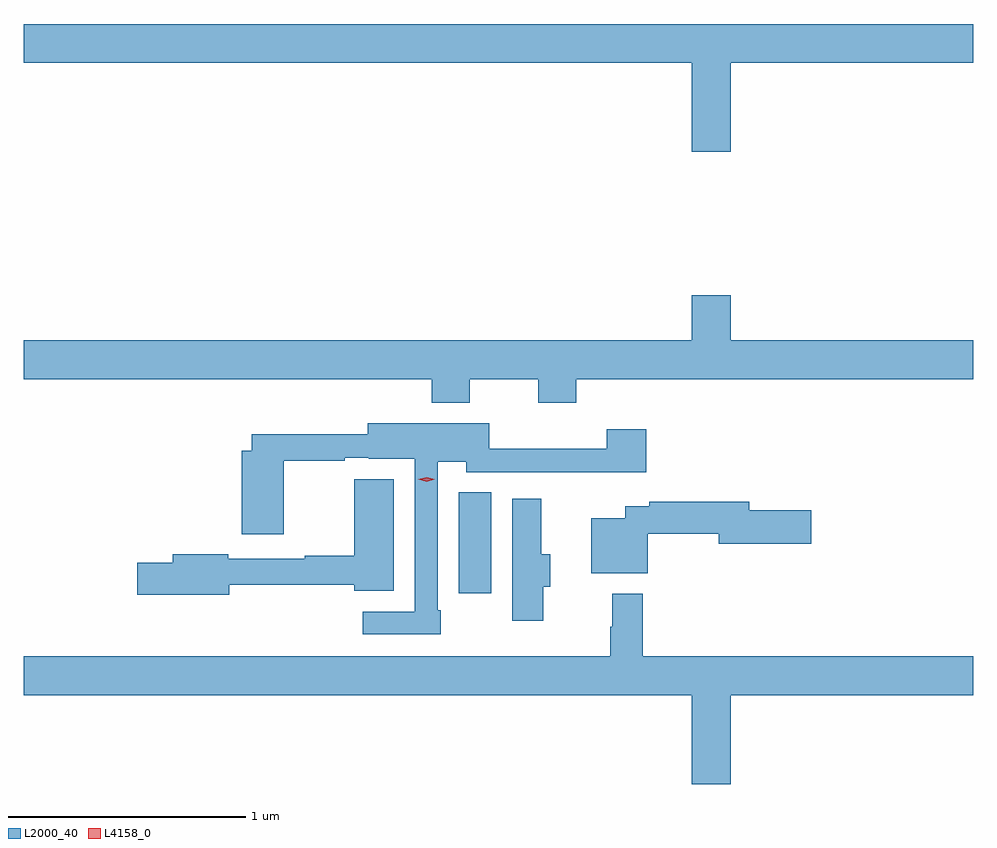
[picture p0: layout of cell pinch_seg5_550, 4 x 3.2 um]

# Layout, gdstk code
import gdstk
lib = gdstk.Library(unit=1e-6, precision=1e-09)
def R(c, l, rs):  # rectangles x0, y0, x1, y1
    for r in rs: c.add(gdstk.rectangle(r[:2], r[2:], *l))
def P(c, l, *ps):  # polygons
    for p in ps: c.add(gdstk.Polygon(p, *l))
L2000_40 = (2000, 40)
L4158_0 = (4158, 0)

pinch_seg5_550 = lib.new_cell('pinch_seg5_550')
R(pinch_seg5_550, L2000_40, [(991.199,834.546,991.336,834.971)])
P(pinch_seg5_550, L2000_40, [(992.344,836.78),(993.366,836.78),(993.366,836.944),(989.366,836.944),(989.366,836.78),(992.18,836.78),(992.18,836.406),(992.344,836.406)],
  [(991.245,835.448),(991.534,835.448),(991.534,835.349),(991.694,835.349),(991.694,835.448),(993.366,835.448),(993.366,835.612),(992.344,835.612),(992.344,835.801),(992.18,835.801),(992.18,835.612),(989.366,835.612),(989.366,835.448),(991.085,835.448),(991.085,835.349),(991.245,835.349)],
  [(991.123,834.475),(991.11,834.475),(991.11,835.1),(991.23,835.1),(991.23,835.056),(991.739,835.056),(991.739,835.055),(991.988,835.055),(991.988,835.237),(991.823,835.237),(991.823,835.154),(991.326,835.154),(991.326,835.261),(990.815,835.261),(990.815,835.215),(990.326,835.215),(990.326,835.147),(990.284,835.147),(990.284,834.795),(990.462,834.795),(990.462,835.104),(990.719,835.104),(990.719,835.116),(990.819,835.116),(990.819,835.112),(991.014,835.112),(991.014,834.468),(990.795,834.468),(990.795,834.372),(991.123,834.372)],
  [(990.232,834.582),(990.758,834.582),(990.758,834.557),(990.925,834.557),(990.925,835.027),(990.758,835.027),(990.758,834.703),(990.55,834.703),(990.55,834.69),(990.228,834.69),(990.228,834.71),(989.993,834.71),(989.993,834.674),(989.844,834.674),(989.844,834.539),(990.232,834.539)],
  [(991.554,834.574),(991.585,834.574),(991.585,834.711),(991.546,834.711),(991.546,834.943),(991.424,834.943),(991.424,834.429),(991.554,834.429)],
  [(991.995,834.796),(992.294,834.796),(992.294,834.754),(992.683,834.754),(992.683,834.896),(992.422,834.896),(992.422,834.932),(992.002,834.932),(992.002,834.913),(991.899,834.913),(991.899,834.862),(991.757,834.862),(991.757,834.629),(991.995,834.629)],
  [(992.344,834.116),(993.366,834.116),(993.366,834.28),(991.973,834.28),(991.973,834.544),(991.845,834.544),(991.845,834.404),(991.837,834.404),(991.837,834.28),(989.366,834.28),(989.366,834.116),(992.18,834.116),(992.18,833.742),(992.344,833.742)])
P(pinch_seg5_550, L4158_0, [(991.063,835.015),(991.028,835.025),(991.028,835.025),(991.028,835.026),(991.063,835.035),(991.097,835.026),(991.098,835.025),(991.097,835.025)])

lib.write_gds('pinch_seg5_550.gds')
